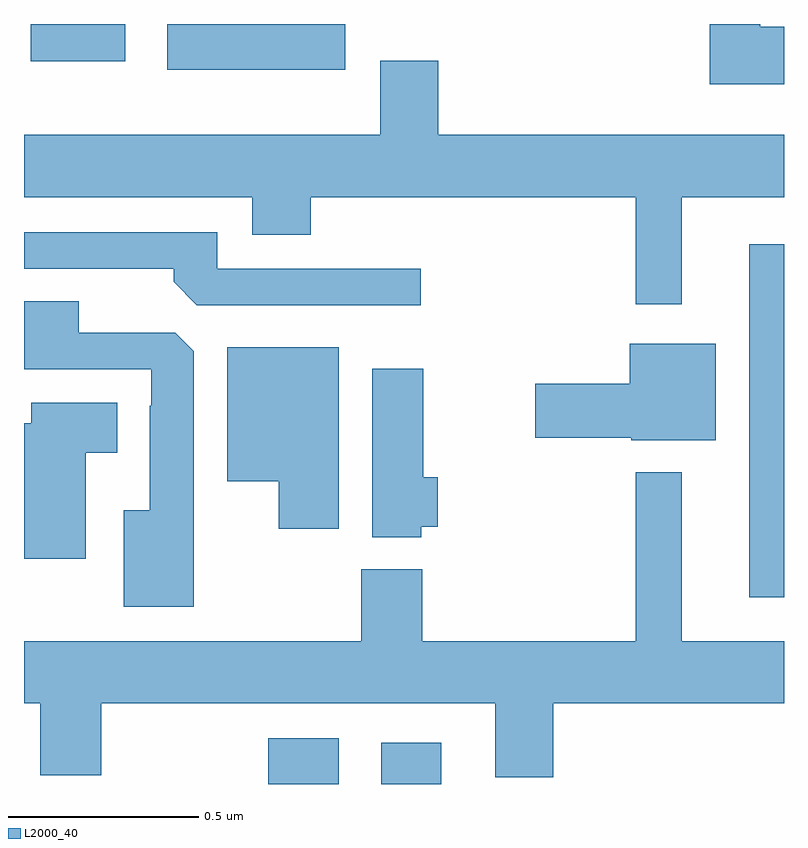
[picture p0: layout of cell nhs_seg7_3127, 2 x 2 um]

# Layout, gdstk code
import gdstk
lib = gdstk.Library(unit=1e-6, precision=1e-09)
def R(c, l, rs):  # rectangles x0, y0, x1, y1
    for r in rs: c.add(gdstk.rectangle(r[:2], r[2:], *l))
def P(c, l, *ps):  # polygons
    for p in ps: c.add(gdstk.Polygon(p, *l))
L2000_40 = (2000, 40)

nhs_seg7_3127 = lib.new_cell('nhs_seg7_3127')
R(nhs_seg7_3127, L2000_40, [(154.643,1071,154.828,1071.121), (154.94,1071,155.098,1071.109), (155.909,1071.491,156,1072.42), (154.377,1072.88,154.846,1073), (154.018,1072.902,154.267,1073)])
P(nhs_seg7_3127, L2000_40, [(156,1072.993),(155.938,1072.993),(155.938,1073),(155.804,1073),(155.804,1072.841),(156,1072.841)],
  [(155.731,1072.544),(156,1072.544),(156,1072.708),(155.09,1072.708),(155.09,1072.903),(154.937,1072.903),(154.937,1072.708),(154,1072.708),(154,1072.544),(154.601,1072.544),(154.601,1072.445),(154.754,1072.445),(154.754,1072.544),(155.61,1072.544),(155.61,1072.263),(155.731,1072.263)],
  [(155.044,1072.356),(154.509,1072.356),(154.509,1072.452),(154,1072.452),(154,1072.356),(154.394,1072.356),(154.394,1072.322),(154.455,1072.26),(155.044,1072.26)],
  [(154.447,1072.139),(154.398,1072.188),(154.144,1072.188),(154.144,1072.271),(154,1072.271),(154,1072.092),(154.335,1072.092),(154.335,1071.995),(154.331,1071.995),(154.331,1071.721),(154.262,1071.721),(154.262,1071.467),(154.447,1071.467)],
  [(155.821,1072.159),(155.594,1072.159),(155.594,1072.053),(155.346,1072.053),(155.346,1071.911),(155.598,1071.911),(155.598,1071.905),(155.821,1071.905)],
  [(154.828,1072.15),(154.535,1072.15),(154.535,1071.797),(154.67,1071.797),(154.67,1071.672),(154.828,1071.672)],
  [(155.046,1071.677),(155.089,1071.677),(155.089,1071.807),(155.05,1071.807),(155.05,1072.093),(154.916,1072.093),(154.916,1071.65),(155.046,1071.65)],
  [(154.162,1071.872),(154.246,1071.872),(154.246,1072.003),(154.019,1072.003),(154.019,1071.949),(154,1071.949),(154,1071.593),(154.162,1071.593)],
  [(155.393,1071.212),(156,1071.212),(156,1071.376),(155.731,1071.376),(155.731,1071.82),(155.61,1071.82),(155.61,1071.376),(155.048,1071.376),(155.048,1071.565),(154.888,1071.565),(154.888,1071.376),(154,1071.376),(154,1071.212),(154.043,1071.212),(154.043,1071.023),(154.203,1071.023),(154.203,1071.212),(155.24,1071.212),(155.24,1071.018),(155.393,1071.018)])

lib.write_gds('nhs_seg7_3127.gds')
